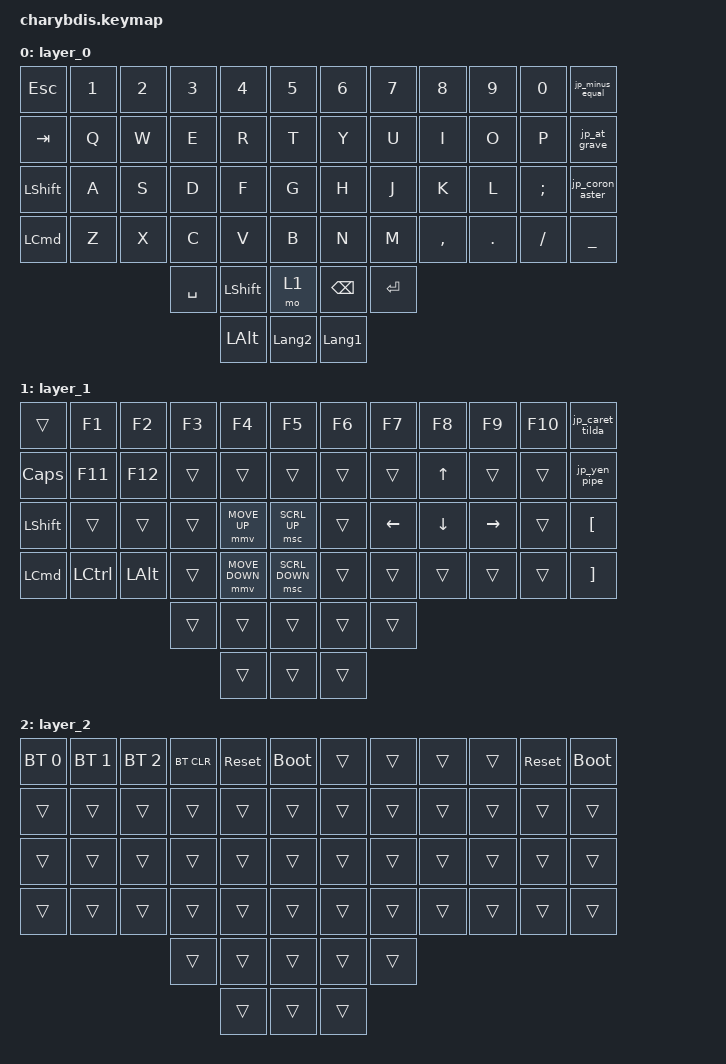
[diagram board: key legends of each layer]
#include <behaviors.dtsi>
#include <dt-bindings/zmk/keys.h>
#include <dt-bindings/zmk/bt.h>
#include <dt-bindings/zmk/mouse.h>

/ {
    trackball_listener {
        compatible = "zmk,input-listener";
        device = <&trackball_split>;
    };

    combos {
        compatible = "zmk,combos";

        cmd+cntrl+alt {
            bindings = <&kp LC(LA(LEFT_COMMAND))>;
            key-positions = <36 37 38>;
        };

        cmd+cntrl {
            bindings = <&kp LC(LEFT_COMMAND)>;
            key-positions = <36 37>;
        };

        left-click {
            bindings = <&mkp LCLK>;
            key-positions = <32 31>;
        };

        right-click {
            bindings = <&mkp RCLK>;
            key-positions = <34 33>;
        };

        center-click {
            bindings = <&mkp MCLK>;
            key-positions = <31 32 33>;
        };

        layer0 {
            bindings = <&to 1>;
            key-positions = <0 11>;
        };

        setting_layer {
            bindings = <&to 0>;
            key-positions = <0 23>;
        };

        mouse_prev {
            bindings = <&mkp MB4>;
            key-positions = <43 44>;
        };

        mouse_next {
            bindings = <&mkp MB5>;
            key-positions = <45 46>;
        };
    };

    behaviors {
        jp_minus_equal: jp_minus_equal {
            compatible = "zmk,behavior-mod-morph";
            label = "JP_MINUS_EQUAL";
            bindings = <&kp MINUS>, <&kp EQUAL>;

            #binding-cells = <0>;
            mods = <(MOD_LSFT|MOD_RSFT)>;
            keep-mods = <(MOD_LSFT|MOD_RSFT)>;
        };

        jp_coron_aster: jp_coron_aster {
            compatible = "zmk,behavior-mod-morph";
            label = "JP_CORON_ASTER";
            bindings = <&kp COLON>, <&kp ASTERISK>;

            #binding-cells = <0>;
            mods = <(MOD_LSFT|MOD_RSFT)>;
            keep-mods = <(MOD_RSFT|MOD_LSFT)>;
        };

        jp_at_grave: jp_at_grave {
            compatible = "zmk,behavior-mod-morph";
            label = "JP_AT_GRAVE";
            bindings = <&kp AT>, <&kp GRAVE>;

            #binding-cells = <0>;
            mods = <(MOD_LSFT|MOD_RSFT)>;
            keep-mods = <(MOD_LSFT|MOD_RSFT)>;
        };

        jp_yen_pipe: jp_yen_pipe {
            compatible = "zmk,behavior-mod-morph";
            label = "JP_YEN_PIPE";
            bindings = <&kp INT_YEN>, <&kp PIPE>;

            #binding-cells = <0>;
            mods = <(MOD_LSFT|MOD_RSFT)>;
            keep-mods = <(MOD_LSFT|MOD_RSFT)>;
        };

        jp_caret_tilda: jp_caret_tilda {
            compatible = "zmk,behavior-mod-morph";
            label = "JP_CARET_TILDA";
            bindings = <&kp CARET>, <&kp TILDE>;

            #binding-cells = <0>;
            mods = <(MOD_LSFT|MOD_RSFT)>;
            keep-mods = <(MOD_LSFT|MOD_RSFT)>;
        };
    };

    keymap {
        compatible = "zmk,keymap";

        layer_0 {
            bindings = <
&kp ESC           &kp N1  &kp N2  &kp N3     &kp N4          &kp N5            &kp N6          &kp N7     &kp N8     &kp N9      &kp N0    &jp_minus_equal
&kp TAB           &kp Q   &kp W   &kp E      &kp R           &kp T             &kp Y           &kp U      &kp I      &kp O       &kp P     &jp_at_grave
&kp LEFT_SHIFT    &kp A   &kp S   &kp D      &kp F           &kp G             &kp H           &kp J      &kp K      &kp L       &kp SEMI  &jp_coron_aster
&kp LEFT_COMMAND  &kp Z   &kp X   &kp C      &kp V           &kp B             &kp N           &kp M      &kp COMMA  &kp PERIOD  &kp FSLH  &kp UNDERSCORE
                                  &kp SPACE  &kp LEFT_SHIFT  &mo 1             &kp BACKSPACE   &kp ENTER
                                             &kp LEFT_ALT    &kp LANGUAGE_2    &kp LANGUAGE_1
            >;
        };

        layer_1 {
            bindings = <
&trans            &kp F1            &kp F2        &kp F3  &kp F4          &kp F5            &kp F6  &kp F7    &kp F8    &kp F9     &kp F10  &jp_caret_tilda
&kp CAPS          &kp F11           &kp F12       &trans  &trans          &trans            &trans  &trans    &kp UP    &trans     &trans   &jp_yen_pipe
&kp LEFT_SHIFT    &trans            &trans        &trans  &mmv MOVE_UP    &msc SCRL_UP      &trans  &kp LEFT  &kp DOWN  &kp RIGHT  &trans   &kp LEFT_BRACKET
&kp LEFT_COMMAND  &kp LEFT_CONTROL  &kp LEFT_ALT  &trans  &mmv MOVE_DOWN  &msc SCRL_DOWN    &trans  &trans    &trans    &trans     &trans   &kp RIGHT_BRACKET
                                                  &trans  &trans          &trans            &trans  &trans
                                                          &trans          &trans            &trans
            >;
        };

        layer_2 {
            bindings = <
&bt BT_SEL 0  &bt BT_SEL 1  &bt BT_SEL 2  &bt BT_CLR  &sys_reset  &bootloader    &trans  &trans  &trans  &trans  &sys_reset  &bootloader
&trans        &trans        &trans        &trans      &trans      &trans         &trans  &trans  &trans  &trans  &trans      &trans
&trans        &trans        &trans        &trans      &trans      &trans         &trans  &trans  &trans  &trans  &trans      &trans
&trans        &trans        &trans        &trans      &trans      &trans         &trans  &trans  &trans  &trans  &trans      &trans
                                          &trans      &trans      &trans         &trans  &trans
                                                      &trans      &trans         &trans
            >;
        };

    };
};
